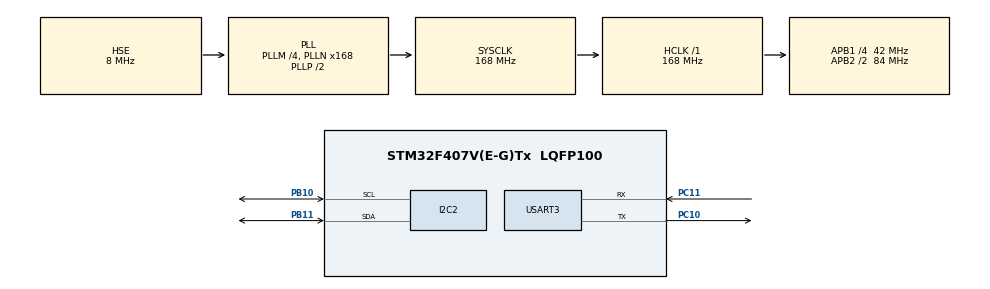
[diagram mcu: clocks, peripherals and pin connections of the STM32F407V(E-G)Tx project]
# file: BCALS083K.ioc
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Mcu.Family=STM32F4
Mcu.Name=STM32F407V(E-G)Tx
Mcu.Package=LQFP100
NVIC.PriorityGroup=NVIC_PRIORITYGROUP_4
PB10.Mode=I2C
PB10.Signal=I2C2_SCL
PB11.Mode=I2C
PB11.Signal=I2C2_SDA
PC10.Mode=Asynchronous
PC10.Signal=USART3_TX
PC11.Mode=Asynchronous
PC11.Signal=USART3_RX
PH0-OSC_IN.Mode=HSE-External-Oscillator
PH0-OSC_IN.Signal=RCC_OSC_IN
PH1-OSC_OUT.Mode=HSE-External-Oscillator
PH1-OSC_OUT.Signal=RCC_OSC_OUT
ProjectManager.HeapSize=0x200
ProjectManager.StackSize=0x400
ProjectManager.TargetToolchain=MDK-ARM V5
RCC.48MHZClocksFreq_Value=84000000
RCC.AHBFreq_Value=168000000
RCC.APB1CLKDivider=RCC_HCLK_DIV4
RCC.APB1Freq_Value=42000000
RCC.APB1TimFreq_Value=84000000
RCC.APB2CLKDivider=RCC_HCLK_DIV2
RCC.APB2Freq_Value=84000000
RCC.APB2TimFreq_Value=168000000
RCC.CortexFreq_Value=168000000
RCC.HCLKFreq_Value=168000000
RCC.HSE_VALUE=8000000
RCC.HSI_VALUE=16000000
RCC.LSE_VALUE=32768
RCC.PLLM=4
RCC.PLLN=168
RCC.PLLSourceVirtual=RCC_PLLSOURCE_HSE
RCC.SYSCLKFreq_VALUE=168000000
RCC.SYSCLKSource=RCC_SYSCLKSOURCE_PLLCLK
RCC.VCOOutputFreq_Value=336000000
USART3.VirtualMode=VM_ASYNC
board=custom

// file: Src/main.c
/* USER CODE BEGIN Header */
/**
  ******************************************************************************
  * @file           : main.c
  * @brief          : Main program body
  ******************************************************************************
  ** This notice applies to any and all portions of this file
  * that are not between comment pairs USER CODE BEGIN and
  * USER CODE END. Other portions of this file, whether
  * inserted by the user or by software development tools
  * are owned by their respective copyright owners.
  *
  * COPYRIGHT(c) 2019 STMicroelectronics
  *
  * Redistribution and use in source and binary forms, with or without modification,
  * are permitted provided that the following conditions are met:
  *   1. Redistributions of source code must retain the above copyright notice,
  *      this list of conditions and the following disclaimer.
  *   2. Redistributions in binary form must reproduce the above copyright notice,
  *      this list of conditions and the following disclaimer in the documentation
  *      and/or other materials provided with the distribution.
  *   3. Neither the name of STMicroelectronics nor the names of its contributors
  *      may be used to endorse or promote products derived from this software
  *      without specific prior written permission.
  *
  * THIS SOFTWARE IS PROVIDED BY THE COPYRIGHT HOLDERS AND CONTRIBUTORS "AS IS"
  * AND ANY EXPRESS OR IMPLIED WARRANTIES, INCLUDING, BUT NOT LIMITED TO, THE
  * IMPLIED WARRANTIES OF MERCHANTABILITY AND FITNESS FOR A PARTICULAR PURPOSE ARE
  * DISCLAIMED. IN NO EVENT SHALL THE COPYRIGHT HOLDER OR CONTRIBUTORS BE LIABLE
  * FOR ANY DIRECT, INDIRECT, INCIDENTAL, SPECIAL, EXEMPLARY, OR CONSEQUENTIAL
  * DAMAGES (INCLUDING, BUT NOT LIMITED TO, PROCUREMENT OF SUBSTITUTE GOODS OR
  * SERVICES; LOSS OF USE, DATA, OR PROFITS; OR BUSINESS INTERRUPTION) HOWEVER
  * CAUSED AND ON ANY THEORY OF LIABILITY, WHETHER IN CONTRACT, STRICT LIABILITY,
  * OR TORT (INCLUDING NEGLIGENCE OR OTHERWISE) ARISING IN ANY WAY OUT OF THE USE
  * OF THIS SOFTWARE, EVEN IF ADVISED OF THE POSSIBILITY OF SUCH DAMAGE.
  *
  ******************************************************************************
  */
/* USER CODE END Header */

#include "main.h"

/* USER CODE BEGIN Includes */
#include "BCALS083K.h"
#include <stdio.h>
/* USER CODE END Includes */

/* USER CODE BEGIN PD */
#define BCALS083K_ADDR 0x44 //OPT3001Q1
/* USER CODE END PD */

I2C_HandleTypeDef hi2c2;

UART_HandleTypeDef huart3;

/* USER CODE BEGIN PV */
int fputc(int ch, FILE *f)
{
	HAL_UART_Transmit(&huart3, (uint8_t *)&ch, 1, 0xFFFF);

	return ch;
}
/* USER CODE END PV */

void SystemClock_Config(void);
static void MX_GPIO_Init(void);
static void MX_I2C2_Init(void);
static void MX_USART3_UART_Init(void);

/* USER CODE BEGIN 0 */
void sensorInitialize(void);
void readSensorData(void);
/* USER CODE END 0 */

int main(void)
{

  /* MCU Configuration--------------------------------------------------------*/

  /* Reset of all peripherals, Initializes the Flash interface and the Systick. */
  HAL_Init();

  /* Configure the system clock */
  SystemClock_Config();

  /* Initialize all configured peripherals */
  MX_GPIO_Init();
  MX_I2C2_Init();
  MX_USART3_UART_Init();
  /* USER CODE BEGIN 2 */
	sensorInitialize();
  /* USER CODE END 2 */

  /* Infinite loop */
  /* USER CODE BEGIN WHILE */
  while (1)
  {
		readSensorData();

		HAL_Delay(1000);
    /* USER CODE END WHILE */

  }
}

void SystemClock_Config(void)
{
  RCC_OscInitTypeDef RCC_OscInitStruct = {0};
  RCC_ClkInitTypeDef RCC_ClkInitStruct = {0};

  /**Configure the main internal regulator output voltage
  */
  __HAL_RCC_PWR_CLK_ENABLE();
  __HAL_PWR_VOLTAGESCALING_CONFIG(PWR_REGULATOR_VOLTAGE_SCALE1);
  /**Initializes the CPU, AHB and APB busses clocks
  */
  RCC_OscInitStruct.OscillatorType = RCC_OSCILLATORTYPE_HSE;
  RCC_OscInitStruct.HSEState = RCC_HSE_ON;
  RCC_OscInitStruct.PLL.PLLState = RCC_PLL_ON;
  RCC_OscInitStruct.PLL.PLLSource = RCC_PLLSOURCE_HSE;
  RCC_OscInitStruct.PLL.PLLM = 4;
  RCC_OscInitStruct.PLL.PLLN = 168;
  RCC_OscInitStruct.PLL.PLLP = RCC_PLLP_DIV2;
  RCC_OscInitStruct.PLL.PLLQ = 4;
  if (HAL_RCC_OscConfig(&RCC_OscInitStruct) != HAL_OK)
  {
    Error_Handler();
  }
  /**Initializes the CPU, AHB and APB busses clocks
  */
  RCC_ClkInitStruct.ClockType = RCC_CLOCKTYPE_HCLK|RCC_CLOCKTYPE_SYSCLK
                              |RCC_CLOCKTYPE_PCLK1|RCC_CLOCKTYPE_PCLK2;
  RCC_ClkInitStruct.SYSCLKSource = RCC_SYSCLKSOURCE_PLLCLK;
  RCC_ClkInitStruct.AHBCLKDivider = RCC_SYSCLK_DIV1;
  RCC_ClkInitStruct.APB1CLKDivider = RCC_HCLK_DIV4;
  RCC_ClkInitStruct.APB2CLKDivider = RCC_HCLK_DIV2;

  if (HAL_RCC_ClockConfig(&RCC_ClkInitStruct, FLASH_LATENCY_5) != HAL_OK)
  {
    Error_Handler();
  }
}

static void MX_I2C2_Init(void)
{

  hi2c2.Instance = I2C2;
  hi2c2.Init.ClockSpeed = 100000;
  hi2c2.Init.DutyCycle = I2C_DUTYCYCLE_2;
  hi2c2.Init.OwnAddress1 = 0;
  hi2c2.Init.AddressingMode = I2C_ADDRESSINGMODE_7BIT;
  hi2c2.Init.DualAddressMode = I2C_DUALADDRESS_DISABLE;
  hi2c2.Init.OwnAddress2 = 0;
  hi2c2.Init.GeneralCallMode = I2C_GENERALCALL_DISABLE;
  hi2c2.Init.NoStretchMode = I2C_NOSTRETCH_DISABLE;
  if (HAL_I2C_Init(&hi2c2) != HAL_OK)
  {
    Error_Handler();
  }

}

static void MX_USART3_UART_Init(void)
{

  huart3.Instance = USART3;
  huart3.Init.BaudRate = 115200;
  huart3.Init.WordLength = UART_WORDLENGTH_8B;
  huart3.Init.StopBits = UART_STOPBITS_1;
  huart3.Init.Parity = UART_PARITY_NONE;
  huart3.Init.Mode = UART_MODE_TX_RX;
  huart3.Init.HwFlowCtl = UART_HWCONTROL_NONE;
  huart3.Init.OverSampling = UART_OVERSAMPLING_16;
  if (HAL_UART_Init(&huart3) != HAL_OK)
  {
    Error_Handler();
  }

}

static void MX_GPIO_Init(void)
{

  /* GPIO Ports Clock Enable */
  __HAL_RCC_GPIOH_CLK_ENABLE();
  __HAL_RCC_GPIOB_CLK_ENABLE();
  __HAL_RCC_GPIOC_CLK_ENABLE();

}

/* USER CODE BEGIN 4 */
void sensorInitialize(void)
	{
  printf("[BCALS083K] Ambient Light Sensor Enabled\n");

	BCALS083K_init(BCALS083K_ADDR, &hi2c2);
  BCALS083K_setRange(12); //Auto full scale

	BCALS083K_setTime(1);   //set time 800ms
	HAL_Delay(20);
  BCALS083K_setMode(BCALS083K_CONTINUOUS);
  BCALS083K_setPolarity(BCALS083K_ACTIVE_HIGH);
  BCALS083K_setLatch(BCALS083K_WINDOW_STYLE);
  BCALS083K_setMaskExponent(1); //Range set to less than 14
  BCALS083K_setFaultCount(BCALS083K_FAULT_CNT_ONE);

  printf("Initialized BC Sensors Series");
  printf("\n");
  printf("\n");
}

void readSensorData()
{
  printf("[BCALS083K] ALS : %0.2f lux\n", BCALS083K_readResult());
}
/* USER CODE END 4 */

void Error_Handler(void)
{
}

/************************ (C) COPYRIGHT STMicroelectronics *****END OF FILE****/
